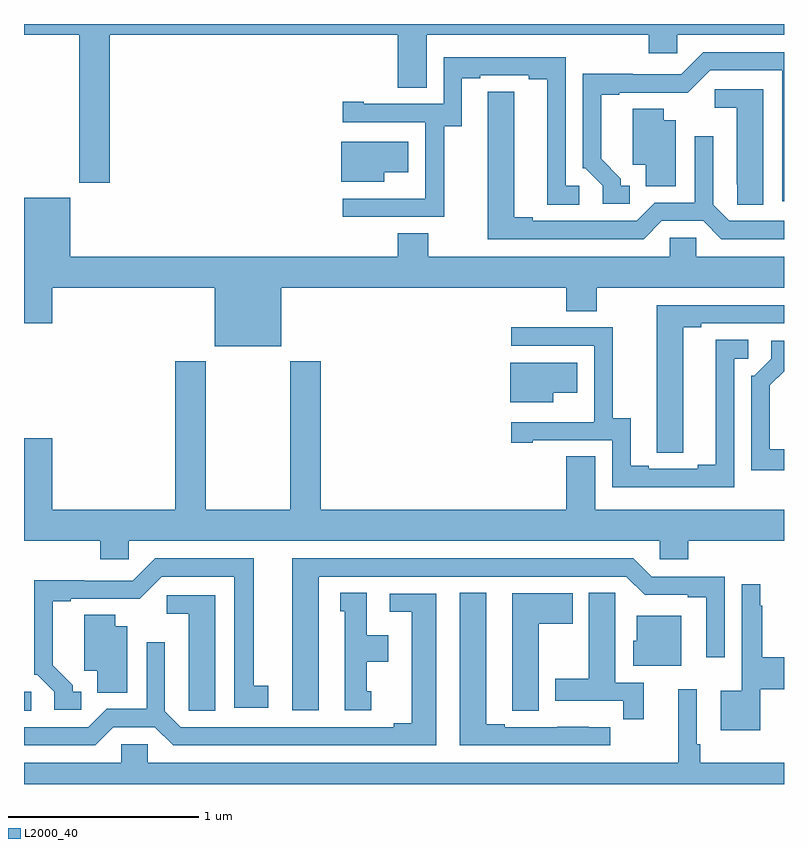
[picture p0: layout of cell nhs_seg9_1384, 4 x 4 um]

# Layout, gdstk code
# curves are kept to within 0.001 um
import gdstk
lib = gdstk.Library(unit=1e-6, precision=1e-09)
def R(c, l, rs):  # rectangles x0, y0, x1, y1
    for r in rs: c.add(gdstk.rectangle(r[:2], r[2:], *l))
def P(c, l, *ps):  # polygons
    for p in ps: c.add(gdstk.Polygon(p, *l))
L2000_40 = (2000, 40)

nhs_seg9_1384 = lib.new_cell('nhs_seg9_1384')
R(nhs_seg9_1384, L2000_40, [(189,1168.885,189.037,1168.986)])
P(nhs_seg9_1384, L2000_40, [(189,1172.444),(189.292,1172.444),(189.292,1171.665),(189.452,1171.665),(189.452,1172.444),(190.967,1172.444),(190.967,1172.164),(191.119,1172.164),(191.119,1172.444),(192.287,1172.444),(192.287,1172.346),(192.438,1172.346),(192.438,1172.444),(193,1172.444),(193,1172.5),(189,1172.5)],
  [(192.187,1171.65),(192.142,1171.65),(192.142,1171.685),(192.037,1171.79),(192.037,1172.127),(192.133,1172.127),(192.133,1172.139),(192.494,1172.138),(192.612,1172.256),(192.992,1172.256),(192.992,1171.566),(193,1171.566),(193,1172.352),(192.576,1172.352),(192.459,1172.235),(192.203,1172.235),(192.203,1172.237),(191.94,1172.237),(191.94,1171.74),(191.955,1171.74),(192.045,1171.65),(192.045,1171.554),(192.187,1171.554)],
  [(191.211,1171.963),(191.305,1171.963),(191.305,1172.214),(191.401,1172.214),(191.401,1172.229),(191.657,1172.229),(191.657,1172.209),(191.753,1172.209),(191.753,1171.549),(191.923,1171.549),(191.923,1171.65),(191.85,1171.65),(191.85,1172.325),(191.208,1172.325),(191.208,1172.079),(190.789,1172.079),(190.789,1172.092),(190.677,1172.092),(190.677,1171.983),(191.112,1171.983),(191.112,1171.582),(191.111,1171.582),(191.111,1171.581),(190.677,1171.581),(190.677,1171.485),(191.211,1171.485)],
  [(192.892,1172.157),(192.636,1172.157),(192.636,1172.06),(192.752,1172.06),(192.752,1171.657),(192.753,1171.657),(192.753,1171.549),(192.892,1171.549)],
  [(192.357,1171.464),(192.575,1171.464),(192.671,1171.368),(193,1171.368),(193,1171.464),(192.711,1171.464),(192.627,1171.548),(192.627,1171.909),(192.531,1171.909),(192.531,1171.56),(192.321,1171.56),(192.225,1171.464),(191.677,1171.464),(191.677,1171.484),(191.581,1171.484),(191.581,1172.144),(191.442,1172.144),(191.441,1171.368),(192.261,1171.368)],
  [(192.43,1171.993),(192.367,1171.993),(192.367,1172.054),(192.203,1172.054),(192.203,1171.76),(192.272,1171.76),(192.272,1171.645),(192.43,1171.645)],
  [(190.897,1171.721),(191.023,1171.721),(191.023,1171.879),(190.67,1171.879),(190.67,1171.67),(190.897,1171.67)],
  [(190.354,1171.112),(191.855,1171.112),(191.855,1170.988),(192.015,1170.988),(192.015,1171.112),(193,1171.112),(193,1171.276),(192.537,1171.276),(192.537,1171.374),(192.399,1171.374),(192.399,1171.276),(191.127,1171.276),(191.127,1171.4),(190.967,1171.4),(190.967,1171.276),(189.244,1171.276),(189.244,1171.585),(189,1171.585),(189,1170.924),(189.148,1170.924),(189.148,1171.112),(190.004,1171.112),(190.004,1170.803),(190.354,1170.803)],
  [(192.469,1170.904),(192.565,1170.904),(192.565,1170.924),(193,1170.924),(193,1171.02),(192.329,1171.02),(192.329,1170.352),(192.33,1170.352),(192.33,1170.244),(192.469,1170.244)],
  [(192.738,1170.738),(192.811,1170.738),(192.811,1170.839),(192.641,1170.839),(192.641,1170.179),(192.545,1170.179),(192.545,1170.159),(192.289,1170.159),(192.289,1170.174),(192.193,1170.174),(192.193,1170.425),(192.099,1170.425),(192.099,1170.903),(191.565,1170.903),(191.565,1170.807),(192,1170.807),(192,1170.406),(191.999,1170.406),(191.999,1170.405),(191.565,1170.405),(191.565,1170.297),(191.677,1170.297),(191.677,1170.309),(192.096,1170.309),(192.096,1170.063),(192.738,1170.063)],
  [(193,1170.262),(192.925,1170.262),(192.925,1170.598),(193,1170.673),(193,1170.834),(192.933,1170.834),(192.933,1170.738),(192.843,1170.648),(192.828,1170.648),(192.828,1170.152),(193,1170.152)],
  [(189.552,1169.78),(192.345,1169.78),(192.345,1169.682),(192.497,1169.682),(192.497,1169.78),(193,1169.78),(193,1169.944),(192.007,1169.944),(192.007,1170.224),(191.855,1170.224),(191.855,1169.944),(190.562,1169.944),(190.562,1170.724),(190.402,1170.724),(190.402,1169.944),(189.957,1169.944),(189.957,1170.724),(189.797,1170.724),(189.797,1169.944),(189.148,1169.944),(189.148,1170.319),(189,1170.319),(189,1169.78),(189.401,1169.78),(189.401,1169.682),(189.552,1169.682)],
  [(191.785,1170.56),(191.911,1170.56),(191.911,1170.718),(191.558,1170.718),(191.558,1170.509),(191.785,1170.509)],
  [(189.301,1168.986),(189.256,1168.986),(189.256,1169.021),(189.151,1169.126),(189.151,1169.463),(189.247,1169.463),(189.247,1169.475),(189.608,1169.474),(189.726,1169.592),(190.106,1169.592),(190.106,1168.902),(190.285,1168.902),(190.285,1169.018),(190.21,1169.018),(190.21,1169.688),(189.69,1169.688),(189.573,1169.571),(189.317,1169.571),(189.317,1169.573),(189.054,1169.573),(189.054,1169.076),(189.069,1169.076),(189.159,1168.986),(189.159,1168.89),(189.301,1168.89)],
  [(190.552,1169.592),(192.171,1169.592),(192.267,1169.496),(192.494,1169.496),(192.494,1169.484),(192.59,1169.484),(192.59,1169.166),(192.687,1169.166),(192.687,1169.592),(192.303,1169.592),(192.207,1169.688),(190.412,1169.688),(190.412,1168.887),(190.552,1168.887)],
  [(192.874,1169),(193,1169),(193,1169.166),(192.886,1169.166),(192.886,1169.438),(192.874,1169.438),(192.874,1169.551),(192.777,1169.551),(192.777,1168.99),(192.668,1168.99),(192.668,1168.784),(192.874,1168.784)],
  [(192.085,1168.8),(191.972,1168.8),(191.972,1168.801),(191.806,1168.801),(191.806,1168.8),(191.53,1168.8),(191.53,1168.815),(191.434,1168.815),(191.434,1169.507),(191.294,1169.507),(191.294,1168.704),(192.085,1168.704)],
  [(192.263,1169.034),(192.112,1169.034),(192.112,1169.396),(192.111,1169.396),(192.111,1169.507),(191.972,1169.507),(191.972,1169.055),(191.795,1169.055),(191.795,1168.938),(192.154,1168.938),(192.154,1168.842),(192.263,1168.842)],
  [(190.828,1168.989),(190.804,1168.989),(190.804,1169.144),(190.918,1169.144),(190.918,1169.284),(190.804,1169.284),(190.804,1169.507),(190.664,1169.507),(190.664,1169.409),(190.688,1169.409),(190.688,1168.887),(190.828,1168.887)],
  [(191.71,1169.344),(191.887,1169.344),(191.887,1169.503),(191.57,1169.503),(191.57,1168.993),(191.571,1168.993),(191.571,1168.885),(191.71,1168.885)],
  [(189.471,1168.8),(189.689,1168.8),(189.785,1168.704),(191.17,1168.704),(191.17,1169.502),(190.926,1169.502),(190.926,1169.406),(191.042,1169.406),(191.042,1168.82),(190.946,1168.82),(190.946,1168.8),(189.825,1168.8),(189.741,1168.884),(189.741,1169.245),(189.645,1169.245),(189.645,1168.896),(189.435,1168.896),(189.339,1168.8),(189,1168.8),(189,1168.704),(189.375,1168.704)],
  [(190.006,1169.493),(189.75,1169.493),(189.75,1169.396),(189.866,1169.396),(189.866,1168.993),(189.867,1168.993),(189.867,1168.885),(190.006,1168.885)],
  [(189.544,1169.329),(189.481,1169.329),(189.481,1169.39),(189.317,1169.39),(189.317,1169.096),(189.386,1169.096),(189.386,1168.981),(189.544,1168.981)],
  [(192.46,1169.386),(192.224,1169.386),(192.224,1169.253),(192.206,1169.253),(192.206,1169.123),(192.46,1169.123)],
  [(193,1168.612),(192.56,1168.612),(192.56,1168.708),(192.54,1168.708),(192.54,1168.999),(192.443,1168.999),(192.443,1168.612),(189.651,1168.612),(189.651,1168.71),(189.513,1168.71),(189.513,1168.612),(189,1168.612),(189,1168.5),(193,1168.5)])

lib.write_gds('nhs_seg9_1384.gds')
